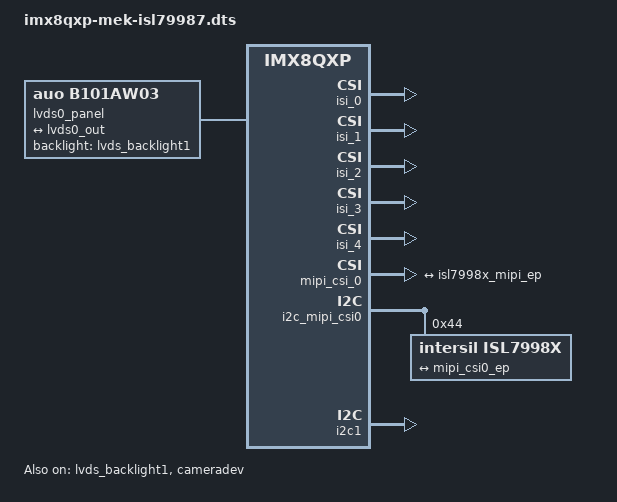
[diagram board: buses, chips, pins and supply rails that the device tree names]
/*
 * Copyright 2019 NXP
 *
 * This program is free software; you can redistribute it and/or
 * modify it under the terms of the GNU General Public License
 * as published by the Free Software Foundation; either version 2
 * of the License, or (at your option) any later version.
 *
 * This program is distributed in the hope that it will be useful,
 * but WITHOUT ANY WARRANTY; without even the implied warranty of
 * MERCHANTABILITY or FITNESS FOR A PARTICULAR PURPOSE.  See the
 * GNU General Public License for more details.
 */

#include "imx8qxp-mek.dts"


/ {
	lvds0_panel {
    	//7 inch
    	compatible = "auo,b101aw03";
    	backlight = <&lvds_backlight1>;

    	port {
        	panel_lvds0_in: endpoint {
            	remote-endpoint = <&lvds0_out>;
	};
 	    	};
	};

};

&lvds_backlight1{
	status = "okay";
};

/delete-node/ &it6263_0_in;



&ldb1 {

	lvds-channel@0 {
    	fsl,data-mapping = "spwg";
    	fsl,data-width = <24>;

    	port@1 {
        	reg = <1>;

        	lvds0_out: endpoint {
            	remote-endpoint = <&panel_lvds0_in>;
        	};
    	};
	};
};

&ldb2 {
	status = "disabled";
};


&iomuxc {
	pinctrl_isl7998x0: isl7998x0grp{
		fsl,pins = <
			IMX8QXP_MIPI_CSI0_GPIO0_01_LSIO_GPIO3_IO07		0xC0000041
			IMX8QXP_MIPI_CSI0_GPIO0_00_LSIO_GPIO3_IO08		0xC0000041
		>;
	};
};

&cameradev {
	/delete-property/parallel_csi;
	status = "okay";
};

&parallel_csi {
	status = "disabled";
};

&isi_0 {
	interface = <2 0 2>;
	deinterlace_blending;
	ntsc_top = <0>;		/* 0 for ISL79987. */
	status = "okay";
};

&isi_1 {
	interface = <2 1 2>;
	deinterlace_mode = <2>;  /* 0 ~ 1: No de-interlacing,
				    2: Odd even weave, 3: Even odd weave
				    4: Odd even blending, 5: Even odd blending
				    6 ~ 7: Line doubling */
	ntsc_top = <0>;		/* 0 for ISL79987. */
	status = "okay";
};

&isi_2 {
	interface = <2 2 2>;
	deinterlace_mode = <2>;  /* 0 ~ 1: No de-interlacing,
				    2: Odd even weave, 3: Even odd weave
				    4: Odd even blending, 5: Even odd blending
				    6 ~ 7: Line doubling */
	ntsc_top = <0>;		/* 0 for ISL79987. */
	status = "okay";
};

&isi_3 {
	interface = <2 3 2>;
	deinterlace_mode = <2>;  /* 0 ~ 1: No de-interlacing,
				    2: Odd even weave, 3: Even odd weave
				    4: Odd even blending, 5: Even odd blending
				    6 ~ 7: Line doubling */
	ntsc_top = <0>;		/* 0 for ISL79987. */
	status = "okay";
};

&isi_4 {
	interface = <2 0 2>;
	deinterlace_mode = <4>;	/* 0 ~ 1: No de-interlacing,
				   2: Odd even weave, 3: Even odd weave
				   4: Odd even blending, 5: Even odd blending
				   6 ~ 7: Line doubling */
	ntsc_top = <0>;		/* 0 for ISL79987. */
	status = "okay";
};

&isi_5 {
	status = "disabled";
};

&isi_6 {
	status = "disabled";
};

&isi_7 {
	status = "disabled";
};

&mipi_csi_0 {
	virtual-channel;
	status = "okay";

	/delete-node/port@0;

	port@0 {
		reg = <0>;
		mipi_csi0_ep: endpoint {
			remote-endpoint = <&isl7998x_mipi_ep>;
			data-lanes = <1 2>;
		};
	};
};
//below lines were the changes are maded

&i2c_mipi_csi0 {
     status = "okay";
     isl7998x: isl7998x@44 {
         compatible = "intersil,isl7998x";
         reg = <0x44>;
         pinctrl-names = "default";
         pinctrl-0 = <&pinctrl_mipi_csi0>;
         clocks = <&clk_dummy>;
         clock-names = "capture_mclk";
         mclk = <27000000>;
         mclk_source = <0>;
         //pwn-gpios = <&lsio_gpio3 7 GPIO_ACTIVE_LOW>;
         //rst-gpios = <&lsio_gpio3 8 GPIO_ACTIVE_HIGH>;
         virtual-channel;
         status = "okay";
         port {
            isl7998x_mipi_ep: endpoint {
                remote-endpoint = <&mipi_csi0_ep>;
            };
        };
     };
     /delete-node/max9286_mipi@6a;
};

&i2c1 {
	status = "okay";
		i2c@3{
			/delete-node/ isl29023@44;
		};
};
